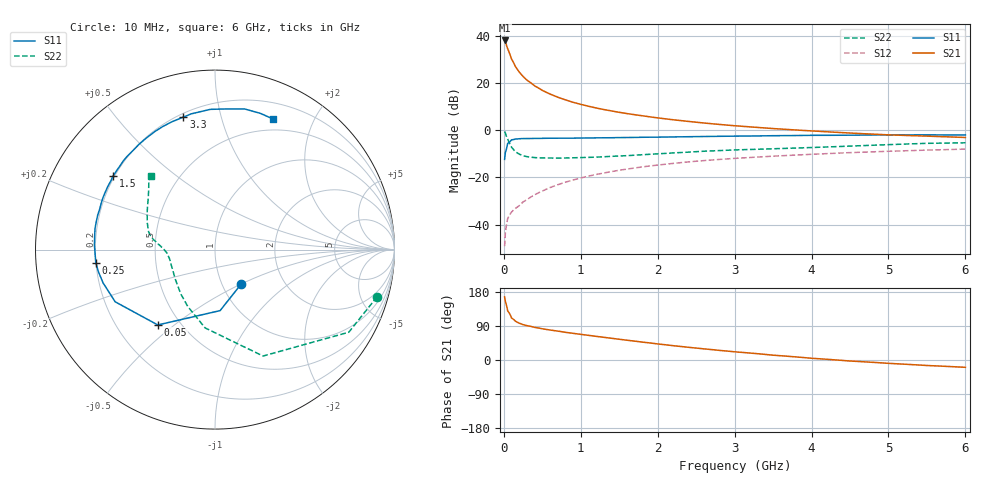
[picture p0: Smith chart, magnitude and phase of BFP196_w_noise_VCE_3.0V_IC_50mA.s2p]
! (c) 2017  Infineon Technologies AG, Munich
! Infineon Technologies  Discrete & RF Semiconductors
! BFP196
! VCE =  3.0 V,  IC =  50 mA
! Common Emitter S-Parameters:  Jan 2017
# GHz  S  MA  R  50
!  f  S11  S21  S12  S22
! GHz  MAG  ANG  MAG  ANG  MAG  ANG  MAG  ANG
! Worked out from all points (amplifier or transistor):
!   77 points, 10 MHz to 6 GHz, reference 50 ohm
!   highest |S21| = 38.1 dB at 10 MHz (marker M1)
!   |S21| within 3 dB of that: start of sweep to 44.42 MHz
!   unconditionally stable (mu >= 1): 490.3 MHz to 2.448 GHz
!   at 130 MHz: K = 0.64, MSG = 31.1 dB, |S12| = -33.7 dB
!   at 2.2 GHz: K = 1.01, MAG = 8.6 dB, |S12| = -14.0 dB
!   at 6 GHz: K = 0.96, MSG = 2.5 dB, |S12| = -8.0 dB
!   lowest NFmin = 1.45 dB at 450 MHz
!   S11 on the Smith chart (normalised r, x): 10 MHz: 1.23, -0.50; 50 MHz: 0.38, -0.44; 250 MHz: 0.20, -0.05; 1.5 GHz: 0.19, +0.31; 3.3 GHz: 0.22, +0.77; 6 GHz: 0.37, +1.48
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0.01  0.2413 -53.0  80.08 166.5  0.0035 76.9  0.9409 -16.2
0.02  0.3411 -85.2  75.67 154.4  0.0068 75.1  0.8761 -31.7
0.05  0.5271 -127.2  53.42 129.3  0.0135 55.5  0.6506 -65.7
0.1  0.6276 -152.4  32.37 110.7  0.0185 51.7  0.4398 -97.2
0.15  0.6506 -163.4  22.49 102.4  0.022 54.8  0.352 -115.4
0.2  0.6615 -169.4  17.15 97.2  0.0253 58.1  0.3121 -127.6
0.25  0.6681 -173.8  13.81 93.3  0.0303 60.6  0.2886 -136.2
0.3  0.6681 -177.0  11.56 90.7  0.0339 62.3  0.2762 -143.0
0.4  0.6723 177.9  8.747 86.1  0.0429 64.9  0.2638 -151.9
0.5  0.6747 173.6  7.006 82.4  0.0516 66.5  0.2592 -158.1
0.6  0.6788 170.0  5.868 79.1  0.0611 66.3  0.2584 -162.7
0.7  0.6793 166.9  5.032 76.3  0.0701 66.5  0.2576 -166.3
0.9  0.681 160.8  3.92 70.4  0.0884 65.7  0.261 -170.9
1.1  0.6881 155.0  3.235 65.1  0.1069 64.1  0.2665 -174.7
1.5  0.7005 144.1  2.401 54.7  0.1423 58.9  0.2854 179.6
2.1  0.7186 128.3  1.75 40.2  0.1907 50.8  0.3239 173.5
2.6  0.7382 117.0  1.427 29.4  0.2279 43.7  0.3597 169.2
3.1  0.7532 107.0  1.214 20.0  0.2593 36.9  0.3877 163.5
3.3  0.759 103.4  1.149 16.6  0.2708 34.4  0.3964 160.9
4.1  0.7819 90.4  0.949 3.3  0.3148 24.7  0.4368 149.7
5.1  0.7998 76.8  0.79 -9.9  0.3629 12.9  0.5026 137.3
6  0.7962 65.9  0.704 -19.3  0.3992 2.9  0.5429 130.7
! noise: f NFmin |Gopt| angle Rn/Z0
0.45  1.45  0.4  -176  0.06
0.9  1.6  0.47  -164  0.08
1.9  2.42  0.68  -132  0.32
2.4  2.82  0.7  -119  0.66
